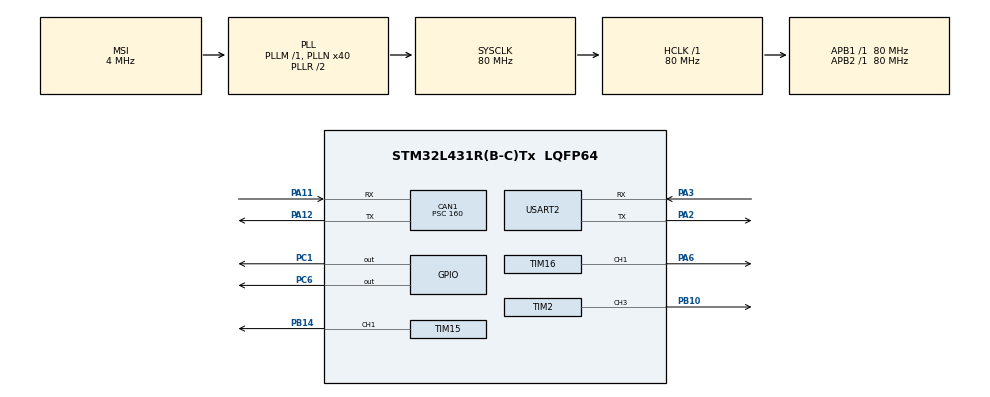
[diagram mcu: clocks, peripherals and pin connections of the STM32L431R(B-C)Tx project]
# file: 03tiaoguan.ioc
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CAN1.BS1=CAN_BS1_16TQ
CAN1.BS2=CAN_BS2_8TQ
CAN1.CalculateTimeQuantum=2000.0
CAN1.Prescaler=160
Mcu.Family=STM32L4
Mcu.Name=STM32L431R(B-C)Tx
Mcu.Package=LQFP64
NVIC.CAN1_RX0_IRQn=true\:0\:0\:false\:false\:true\:true\:true
NVIC.CAN1_RX1_IRQn=true\:0\:0\:false\:false\:true\:true\:true
NVIC.CAN1_SCE_IRQn=true\:0\:0\:false\:false\:true\:true\:true
NVIC.CAN1_TX_IRQn=true\:0\:0\:false\:false\:true\:true\:true
NVIC.PriorityGroup=NVIC_PRIORITYGROUP_4
NVIC.TIM1_BRK_TIM15_IRQn=true\:0\:0\:false\:false\:true\:true\:true
NVIC.USART2_IRQn=true\:0\:0\:false\:false\:true\:true\:true
PA11.Mode=Master
PA11.Signal=CAN1_RX
PA12.Mode=Master
PA12.Signal=CAN1_TX
PA13\ (JTMS-SWDIO).Mode=Serial_Wire
PA13\ (JTMS-SWDIO).Signal=SYS_JTMS-SWDIO
PA14\ (JTCK-SWCLK).Mode=Serial_Wire
PA14\ (JTCK-SWCLK).Signal=SYS_JTCK-SWCLK
PA2.Mode=Asynchronous
PA2.Signal=USART2_TX
PA3.Mode=Asynchronous
PA3.Signal=USART2_RX
PA6.Signal=S_TIM16_CH1
PB10.Signal=S_TIM2_CH3
PB14.Signal=S_TIM15_CH1
PC1.GPIO_ModeDefaultOutputPP=GPIO_MODE_OUTPUT_PP
PC1.PinState=GPIO_PIN_SET
PC1.Signal=GPIO_Output
PC6.GPIO_PuPd=GPIO_PULLUP
PC6.Signal=GPIO_Output
ProjectManager.HeapSize=0x200
ProjectManager.StackSize=0x400
ProjectManager.TargetToolchain=MDK-ARM V5
RCC.AHBFreq_Value=80000000
RCC.APB1Freq_Value=80000000
RCC.APB1TimFreq_Value=80000000
RCC.APB2Freq_Value=80000000
RCC.APB2TimFreq_Value=80000000
RCC.CortexFreq_Value=80000000
RCC.HCLKFreq_Value=80000000
RCC.HSE_VALUE=8000000
RCC.HSI48_VALUE=48000000
RCC.HSI_VALUE=16000000
RCC.LSE_VALUE=32768
RCC.MSI_VALUE=4000000
RCC.PLLN=40
RCC.SYSCLKFreq_VALUE=80000000
RCC.SYSCLKSource=RCC_SYSCLKSOURCE_PLLCLK
RCC.VCOOutputFreq_Value=160000000
SH.S_TIM15_CH1.0=TIM15_CH1,PWM Generation1 CH1
SH.S_TIM16_CH1.0=TIM16_CH1,PWM Generation1 CH1
SH.S_TIM2_CH3.0=TIM2_CH3,PWM Generation3 CH3
TIM15.Channel-PWM\ Generation1\ CH1=TIM_CHANNEL_1
TIM15.Period=2000-1
TIM15.Prescaler=800-1
TIM16.Channel=TIM_CHANNEL_1
TIM16.Period=2000-1
TIM16.Prescaler=800-1
TIM2.Channel-PWM\ Generation3\ CH3=TIM_CHANNEL_3
TIM2.Period=2000-1
TIM2.Prescaler=800-1
USART2.VirtualMode-Asynchronous=VM_ASYNC
VP_TIM15_VS_ClockSourceINT.Mode=Internal
VP_TIM16_VS_ClockSourceINT.Mode=Enable_Timer
VP_TIM2_VS_ClockSourceINT.Mode=Internal
board=custom

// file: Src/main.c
/* USER CODE BEGIN Header */
/**
  ******************************************************************************
  * @file           : main.c
  * @brief          : Main program body
  ******************************************************************************
  * @attention
  *
  * <h2><center>&copy; Copyright (c) 2019 STMicroelectronics.
  * All rights reserved.</center></h2>
  *
  * This software component is licensed by ST under BSD 3-Clause license,
  * the "License"; You may not use this file except in compliance with the
  * License. You may obtain a copy of the License at:
  *                        opensource.org/licenses/BSD-3-Clause
  *
  ******************************************************************************
  */
/* USER CODE END Header */

#include "main.h"

/* USER CODE BEGIN Includes */
#include <stdio.h>
/* USER CODE END Includes */

CAN_HandleTypeDef hcan1;

TIM_HandleTypeDef htim2;
TIM_HandleTypeDef htim15;
TIM_HandleTypeDef htim16;

UART_HandleTypeDef huart2;

void SystemClock_Config(void);
static void MX_GPIO_Init(void);
static void MX_TIM15_Init(void);
static void MX_USART2_UART_Init(void);
static void MX_CAN1_Init(void);
static void MX_TIM2_Init(void);
static void MX_TIM16_Init(void);
/* USER CODE BEGIN PFP */
void user_pwm_setvalue(uint16_t value);
uint8_t CAN_ID=0x85;		//	预先设定 CAN节点地址为 0x0085 这个后续可以通过CAN协议指令修改	地址存在EEPROM中	读取后覆盖这个地址
static void CAN_Config(void);

CAN_HandleTypeDef     CanHandle;
CAN_TxHeaderTypeDef   TxHeader;
CAN_RxHeaderTypeDef   RxHeader;
uint8_t               TxData[8];
uint8_t               RxData[8];
uint32_t              TxMailbox;
uint8_t ubKeyNumber = 0x0;

/* USER CODE END PFP */

int main(void)
{

  /* MCU Configuration--------------------------------------------------------*/

  /* Reset of all peripherals, Initializes the Flash interface and the Systick. */
  HAL_Init();

  /* Configure the system clock */
  SystemClock_Config();

  /* Initialize all configured peripherals */
  MX_GPIO_Init();
  MX_TIM15_Init();
  MX_USART2_UART_Init();
  MX_CAN1_Init();
  MX_TIM2_Init();
  MX_TIM16_Init();
  /* USER CODE BEGIN 2 */
	uint16_t pwm_value,step;
	pwm_value=0;
	step=0;
	printf("\n\r	开机。	\n\r");
	HAL_TIM_PWM_Start(&htim15, TIM_CHANNEL_1);

	CAN_ID=*(unsigned int *)0x08014000;
	if(CAN_ID==0xFF)
	{
		CAN_ID=0x85;
	}
//	CAN_Filter_Set();		//	设置CAN滤波器，不设置无法使用CAN
  if (HAL_CAN_ActivateNotification(&hcan1, CAN_IT_RX_FIFO0_MSG_PENDING) != HAL_OK)
  {
    /* Notification Error */
    Error_Handler();
  }

//	CAN_Filter_Set();		//	设置CAN滤波器，不设置无法使用CAN
	CAN_Config();

	//	为了测试硬件故障，开机 分别发CAN数据与485数据
	TxHeader.StdId = 0x200+CAN_ID;
	TxHeader.ExtId = 0x01;
  TxHeader.RTR = CAN_RTR_DATA;
  TxHeader.IDE = CAN_ID_STD;
	TxHeader.DLC=1;
	TxHeader.TransmitGlobalTime = DISABLE;
	TxData[0]=0xFA;
//	CAN_DATA_Buffer_send_save[3]=0xAF;
//	Auto_zero_fill_and_send_to_Queue_wait_for_sending_via_CAN(2);
	while(HAL_CAN_AddTxMessage(&hcan1, &TxHeader, TxData, &TxMailbox) != HAL_OK)
	{
		__nop();
	}

	pwm_value =425+2*20;		//	公式是 PWM值= 423+电压值*39
	uint8_t temp=2;
	pwm_value =425+temp*20;

  /* USER CODE END 2 */

  /* Infinite loop */
  /* USER CODE BEGIN WHILE */
  while (1)
  {
		HAL_Delay(2000);

		pwm_value =temp*200;
//		if(pwm_value == 0)
//		{
//			step = 100;
//		}
//		if(pwm_value == 2000)
//		{
//			step = -100;
//		}
//		pwm_value = pwm_value+step;
		user_pwm_setvalue(pwm_value);
		temp=temp+1;
		printf("\n\r	设置电压为 %d /2000 。			",pwm_value);
		printf("电压值转换后 ： %.1f V	\n\r",(double)(pwm_value*3300/2000));
		if(temp==11)
		{
			//
			temp=0;
		}
    /* USER CODE END WHILE */

  }
}

void SystemClock_Config(void)
{
  RCC_OscInitTypeDef RCC_OscInitStruct = {0};
  RCC_ClkInitTypeDef RCC_ClkInitStruct = {0};
  RCC_PeriphCLKInitTypeDef PeriphClkInit = {0};

  /** Initializes the CPU, AHB and APB busses clocks
  */
  RCC_OscInitStruct.OscillatorType = RCC_OSCILLATORTYPE_MSI;
  RCC_OscInitStruct.MSIState = RCC_MSI_ON;
  RCC_OscInitStruct.MSICalibrationValue = 0;
  RCC_OscInitStruct.MSIClockRange = RCC_MSIRANGE_6;
  RCC_OscInitStruct.PLL.PLLState = RCC_PLL_ON;
  RCC_OscInitStruct.PLL.PLLSource = RCC_PLLSOURCE_MSI;
  RCC_OscInitStruct.PLL.PLLM = 1;
  RCC_OscInitStruct.PLL.PLLN = 40;
  RCC_OscInitStruct.PLL.PLLP = RCC_PLLP_DIV7;
  RCC_OscInitStruct.PLL.PLLQ = RCC_PLLQ_DIV2;
  RCC_OscInitStruct.PLL.PLLR = RCC_PLLR_DIV2;
  if (HAL_RCC_OscConfig(&RCC_OscInitStruct) != HAL_OK)
  {
    Error_Handler();
  }
  /** Initializes the CPU, AHB and APB busses clocks
  */
  RCC_ClkInitStruct.ClockType = RCC_CLOCKTYPE_HCLK|RCC_CLOCKTYPE_SYSCLK
                              |RCC_CLOCKTYPE_PCLK1|RCC_CLOCKTYPE_PCLK2;
  RCC_ClkInitStruct.SYSCLKSource = RCC_SYSCLKSOURCE_PLLCLK;
  RCC_ClkInitStruct.AHBCLKDivider = RCC_SYSCLK_DIV1;
  RCC_ClkInitStruct.APB1CLKDivider = RCC_HCLK_DIV1;
  RCC_ClkInitStruct.APB2CLKDivider = RCC_HCLK_DIV1;

  if (HAL_RCC_ClockConfig(&RCC_ClkInitStruct, FLASH_LATENCY_4) != HAL_OK)
  {
    Error_Handler();
  }
  PeriphClkInit.PeriphClockSelection = RCC_PERIPHCLK_USART2;
  PeriphClkInit.Usart2ClockSelection = RCC_USART2CLKSOURCE_PCLK1;
  if (HAL_RCCEx_PeriphCLKConfig(&PeriphClkInit) != HAL_OK)
  {
    Error_Handler();
  }
  /** Configure the main internal regulator output voltage
  */
  if (HAL_PWREx_ControlVoltageScaling(PWR_REGULATOR_VOLTAGE_SCALE1) != HAL_OK)
  {
    Error_Handler();
  }
}

static void MX_CAN1_Init(void)
{

  hcan1.Instance = CAN1;
  hcan1.Init.Prescaler = 160;
  hcan1.Init.Mode = CAN_MODE_NORMAL;
  hcan1.Init.SyncJumpWidth = CAN_SJW_1TQ;
  hcan1.Init.TimeSeg1 = CAN_BS1_16TQ;
  hcan1.Init.TimeSeg2 = CAN_BS2_8TQ;
  hcan1.Init.TimeTriggeredMode = DISABLE;
  hcan1.Init.AutoBusOff = DISABLE;
  hcan1.Init.AutoWakeUp = DISABLE;
  hcan1.Init.AutoRetransmission = DISABLE;
  hcan1.Init.ReceiveFifoLocked = DISABLE;
  hcan1.Init.TransmitFifoPriority = DISABLE;
  if (HAL_CAN_Init(&hcan1) != HAL_OK)
  {
    Error_Handler();
  }

}

static void MX_TIM2_Init(void)
{

  TIM_ClockConfigTypeDef sClockSourceConfig = {0};
  TIM_MasterConfigTypeDef sMasterConfig = {0};
  TIM_OC_InitTypeDef sConfigOC = {0};

  htim2.Instance = TIM2;
  htim2.Init.Prescaler = 800-1;
  htim2.Init.CounterMode = TIM_COUNTERMODE_UP;
  htim2.Init.Period = 2000-1;
  htim2.Init.ClockDivision = TIM_CLOCKDIVISION_DIV1;
  htim2.Init.AutoReloadPreload = TIM_AUTORELOAD_PRELOAD_DISABLE;
  if (HAL_TIM_Base_Init(&htim2) != HAL_OK)
  {
    Error_Handler();
  }
  sClockSourceConfig.ClockSource = TIM_CLOCKSOURCE_INTERNAL;
  if (HAL_TIM_ConfigClockSource(&htim2, &sClockSourceConfig) != HAL_OK)
  {
    Error_Handler();
  }
  if (HAL_TIM_PWM_Init(&htim2) != HAL_OK)
  {
    Error_Handler();
  }
  sMasterConfig.MasterOutputTrigger = TIM_TRGO_RESET;
  sMasterConfig.MasterSlaveMode = TIM_MASTERSLAVEMODE_DISABLE;
  if (HAL_TIMEx_MasterConfigSynchronization(&htim2, &sMasterConfig) != HAL_OK)
  {
    Error_Handler();
  }
  sConfigOC.OCMode = TIM_OCMODE_PWM1;
  sConfigOC.Pulse = 0;
  sConfigOC.OCPolarity = TIM_OCPOLARITY_HIGH;
  sConfigOC.OCFastMode = TIM_OCFAST_DISABLE;
  if (HAL_TIM_PWM_ConfigChannel(&htim2, &sConfigOC, TIM_CHANNEL_3) != HAL_OK)
  {
    Error_Handler();
  }
  HAL_TIM_MspPostInit(&htim2);

}

static void MX_TIM15_Init(void)
{

  TIM_ClockConfigTypeDef sClockSourceConfig = {0};
  TIM_MasterConfigTypeDef sMasterConfig = {0};
  TIM_OC_InitTypeDef sConfigOC = {0};
  TIM_BreakDeadTimeConfigTypeDef sBreakDeadTimeConfig = {0};

  htim15.Instance = TIM15;
  htim15.Init.Prescaler = 800-1;
  htim15.Init.CounterMode = TIM_COUNTERMODE_UP;
  htim15.Init.Period = 2000-1;
  htim15.Init.ClockDivision = TIM_CLOCKDIVISION_DIV1;
  htim15.Init.RepetitionCounter = 0;
  htim15.Init.AutoReloadPreload = TIM_AUTORELOAD_PRELOAD_DISABLE;
  if (HAL_TIM_Base_Init(&htim15) != HAL_OK)
  {
    Error_Handler();
  }
  sClockSourceConfig.ClockSource = TIM_CLOCKSOURCE_INTERNAL;
  if (HAL_TIM_ConfigClockSource(&htim15, &sClockSourceConfig) != HAL_OK)
  {
    Error_Handler();
  }
  if (HAL_TIM_PWM_Init(&htim15) != HAL_OK)
  {
    Error_Handler();
  }
  sMasterConfig.MasterOutputTrigger = TIM_TRGO_RESET;
  sMasterConfig.MasterSlaveMode = TIM_MASTERSLAVEMODE_DISABLE;
  if (HAL_TIMEx_MasterConfigSynchronization(&htim15, &sMasterConfig) != HAL_OK)
  {
    Error_Handler();
  }
  sConfigOC.OCMode = TIM_OCMODE_PWM1;
  sConfigOC.Pulse = 0;
  sConfigOC.OCPolarity = TIM_OCPOLARITY_HIGH;
  sConfigOC.OCNPolarity = TIM_OCNPOLARITY_HIGH;
  sConfigOC.OCFastMode = TIM_OCFAST_DISABLE;
  sConfigOC.OCIdleState = TIM_OCIDLESTATE_RESET;
  sConfigOC.OCNIdleState = TIM_OCNIDLESTATE_RESET;
  if (HAL_TIM_PWM_ConfigChannel(&htim15, &sConfigOC, TIM_CHANNEL_1) != HAL_OK)
  {
    Error_Handler();
  }
  sBreakDeadTimeConfig.OffStateRunMode = TIM_OSSR_DISABLE;
  sBreakDeadTimeConfig.OffStateIDLEMode = TIM_OSSI_DISABLE;
  sBreakDeadTimeConfig.LockLevel = TIM_LOCKLEVEL_OFF;
  sBreakDeadTimeConfig.DeadTime = 0;
  sBreakDeadTimeConfig.BreakState = TIM_BREAK_DISABLE;
  sBreakDeadTimeConfig.BreakPolarity = TIM_BREAKPOLARITY_HIGH;
  sBreakDeadTimeConfig.AutomaticOutput = TIM_AUTOMATICOUTPUT_DISABLE;
  if (HAL_TIMEx_ConfigBreakDeadTime(&htim15, &sBreakDeadTimeConfig) != HAL_OK)
  {
    Error_Handler();
  }
  HAL_TIM_MspPostInit(&htim15);

}

static void MX_TIM16_Init(void)
{

  TIM_OC_InitTypeDef sConfigOC = {0};
  TIM_BreakDeadTimeConfigTypeDef sBreakDeadTimeConfig = {0};

  htim16.Instance = TIM16;
  htim16.Init.Prescaler = 800-1;
  htim16.Init.CounterMode = TIM_COUNTERMODE_UP;
  htim16.Init.Period = 2000-1;
  htim16.Init.ClockDivision = TIM_CLOCKDIVISION_DIV1;
  htim16.Init.RepetitionCounter = 0;
  htim16.Init.AutoReloadPreload = TIM_AUTORELOAD_PRELOAD_DISABLE;
  if (HAL_TIM_Base_Init(&htim16) != HAL_OK)
  {
    Error_Handler();
  }
  if (HAL_TIM_PWM_Init(&htim16) != HAL_OK)
  {
    Error_Handler();
  }
  sConfigOC.OCMode = TIM_OCMODE_PWM1;
  sConfigOC.Pulse = 0;
  sConfigOC.OCPolarity = TIM_OCPOLARITY_HIGH;
  sConfigOC.OCNPolarity = TIM_OCNPOLARITY_HIGH;
  sConfigOC.OCFastMode = TIM_OCFAST_DISABLE;
  sConfigOC.OCIdleState = TIM_OCIDLESTATE_RESET;
  sConfigOC.OCNIdleState = TIM_OCNIDLESTATE_RESET;
  if (HAL_TIM_PWM_ConfigChannel(&htim16, &sConfigOC, TIM_CHANNEL_1) != HAL_OK)
  {
    Error_Handler();
  }
  sBreakDeadTimeConfig.OffStateRunMode = TIM_OSSR_DISABLE;
  sBreakDeadTimeConfig.OffStateIDLEMode = TIM_OSSI_DISABLE;
  sBreakDeadTimeConfig.LockLevel = TIM_LOCKLEVEL_OFF;
  sBreakDeadTimeConfig.DeadTime = 0;
  sBreakDeadTimeConfig.BreakState = TIM_BREAK_DISABLE;
  sBreakDeadTimeConfig.BreakPolarity = TIM_BREAKPOLARITY_HIGH;
  sBreakDeadTimeConfig.AutomaticOutput = TIM_AUTOMATICOUTPUT_DISABLE;
  if (HAL_TIMEx_ConfigBreakDeadTime(&htim16, &sBreakDeadTimeConfig) != HAL_OK)
  {
    Error_Handler();
  }
  HAL_TIM_MspPostInit(&htim16);

}

static void MX_USART2_UART_Init(void)
{

  huart2.Instance = USART2;
  huart2.Init.BaudRate = 115200;
  huart2.Init.WordLength = UART_WORDLENGTH_8B;
  huart2.Init.StopBits = UART_STOPBITS_1;
  huart2.Init.Parity = UART_PARITY_NONE;
  huart2.Init.Mode = UART_MODE_TX_RX;
  huart2.Init.HwFlowCtl = UART_HWCONTROL_NONE;
  huart2.Init.OverSampling = UART_OVERSAMPLING_16;
  huart2.Init.OneBitSampling = UART_ONE_BIT_SAMPLE_DISABLE;
  huart2.AdvancedInit.AdvFeatureInit = UART_ADVFEATURE_NO_INIT;
  if (HAL_UART_Init(&huart2) != HAL_OK)
  {
    Error_Handler();
  }

}

static void MX_GPIO_Init(void)
{
  GPIO_InitTypeDef GPIO_InitStruct = {0};

  /* GPIO Ports Clock Enable */
  __HAL_RCC_GPIOC_CLK_ENABLE();
  __HAL_RCC_GPIOA_CLK_ENABLE();
  __HAL_RCC_GPIOB_CLK_ENABLE();

  /*Configure GPIO pin Output Level */
  HAL_GPIO_WritePin(GPIOC, GPIO_PIN_1, GPIO_PIN_SET);

  /*Configure GPIO pin Output Level */
  HAL_GPIO_WritePin(GPIOC, GPIO_PIN_6, GPIO_PIN_RESET);

  /*Configure GPIO pin : PC1 */
  GPIO_InitStruct.Pin = GPIO_PIN_1;
  GPIO_InitStruct.Mode = GPIO_MODE_OUTPUT_PP;
  GPIO_InitStruct.Pull = GPIO_NOPULL;
  GPIO_InitStruct.Speed = GPIO_SPEED_FREQ_LOW;
  HAL_GPIO_Init(GPIOC, &GPIO_InitStruct);

  /*Configure GPIO pin : PC6 */
  GPIO_InitStruct.Pin = GPIO_PIN_6;
  GPIO_InitStruct.Mode = GPIO_MODE_OUTPUT_PP;
  GPIO_InitStruct.Pull = GPIO_PULLUP;
  GPIO_InitStruct.Speed = GPIO_SPEED_FREQ_LOW;
  HAL_GPIO_Init(GPIOC, &GPIO_InitStruct);

}

/* USER CODE BEGIN 4 */
void user_pwm_setvalue(uint16_t value)
{

  TIM_OC_InitTypeDef sConfigOC = {0};

  sConfigOC.OCMode = TIM_OCMODE_PWM1;
  sConfigOC.Pulse = value;
  sConfigOC.OCPolarity = TIM_OCPOLARITY_HIGH;
  sConfigOC.OCNPolarity = TIM_OCNPOLARITY_HIGH;
  sConfigOC.OCFastMode = TIM_OCFAST_DISABLE;
  sConfigOC.OCIdleState = TIM_OCIDLESTATE_RESET;
  sConfigOC.OCNIdleState = TIM_OCNIDLESTATE_RESET;

  if (HAL_TIM_PWM_ConfigChannel(&htim15, &sConfigOC, TIM_CHANNEL_1) != HAL_OK)
  {
    Error_Handler();
  }
	HAL_TIM_PWM_Start(&htim15, TIM_CHANNEL_1);

	if (HAL_TIM_PWM_ConfigChannel(&htim2, &sConfigOC, TIM_CHANNEL_3) != HAL_OK)
  {
    Error_Handler();
  }
  HAL_TIM_PWM_Start(&htim2, TIM_CHANNEL_3);

	if (HAL_TIM_PWM_ConfigChannel(&htim16, &sConfigOC, TIM_CHANNEL_1) != HAL_OK)
  {
    Error_Handler();
  }
  HAL_TIM_PWM_Start(&htim16, TIM_CHANNEL_1);

}

#ifdef __GNUC__
  /* With GCC/RAISONANCE, small printf (option LD Linker->Libraries->Small printf
     set to 'Yes') calls __io_putchar() */
  #define PUTCHAR_PROTOTYPE int __io_putchar(int ch)
#else
  #define PUTCHAR_PROTOTYPE int fputc(int ch, FILE *f)
#endif /* __GNUC__ */
/**
  * @brief  Retargets the C library printf function to the USART.
  * @param  None
  * @retval None
  */
PUTCHAR_PROTOTYPE
{
  /* Place your implementation of fputc here */
  /* e.g. write a character to the EVAL_COM1 and Loop until the end of transmission */
  HAL_UART_Transmit(&huart2, (uint8_t *)&ch, 1, 0xFFFF);

  return ch;
}

static void CAN_Config(void)
{
  CAN_FilterTypeDef  sFilterConfig;

  /*##-2- Configure the CAN Filter ###########################################*/
  sFilterConfig.FilterBank = 0;
  sFilterConfig.FilterMode = CAN_FILTERMODE_IDLIST;
  sFilterConfig.FilterScale = CAN_FILTERSCALE_32BIT;
  sFilterConfig.FilterIdHigh = (((uint32_t)CAN_ID<<21)&0xffff0000)>>16;
  sFilterConfig.FilterIdLow = (((uint32_t)CAN_ID<<21)|CAN_ID_STD|CAN_RTR_DATA)&0xffff;
  sFilterConfig.FilterMaskIdHigh = 0xFFFF;
  sFilterConfig.FilterMaskIdLow = 0xFFFF;
  sFilterConfig.FilterFIFOAssignment = CAN_RX_FIFO0;
  sFilterConfig.FilterActivation = ENABLE;
  sFilterConfig.SlaveStartFilterBank = 14;

  if (HAL_CAN_ConfigFilter(&hcan1, &sFilterConfig) != HAL_OK)
  {
    /* Filter configuration Error */
    Error_Handler();
  }

  /*##-3- Start the CAN peripheral ###########################################*/
  if (HAL_CAN_Start(&hcan1) != HAL_OK)
  {
    /* Start Error */
    Error_Handler();
  }

  /*##-4- Activate CAN RX notification #######################################*/
  if (HAL_CAN_ActivateNotification(&hcan1, CAN_IT_RX_FIFO0_MSG_PENDING) != HAL_OK)
  {
    /* Notification Error */
    Error_Handler();
  }

  TxHeader.RTR = CAN_RTR_DATA;
  TxHeader.IDE = CAN_ID_STD;

  TxHeader.TransmitGlobalTime = DISABLE;
}

/* USER CODE END 4 */

void Error_Handler(void)
{
}

/************************ (C) COPYRIGHT STMicroelectronics *****END OF FILE****/
